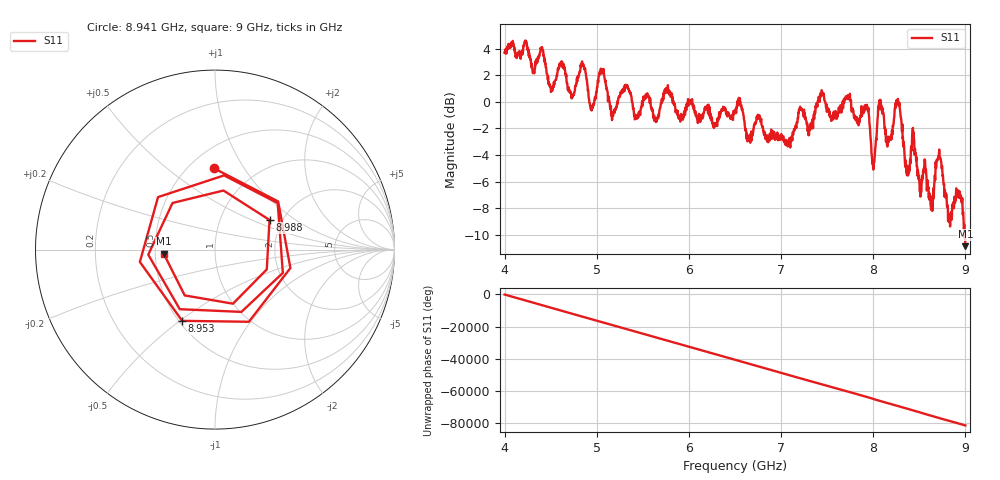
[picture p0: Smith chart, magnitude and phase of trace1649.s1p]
! Created with skrf 1.8.0 (http://scikit-rf.org).
# Hz S RI R 50.0
!freq ReS11 ImS11
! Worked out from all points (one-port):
!   1601 points, 4 GHz to 9 GHz, reference 50 ohm
!   lowest |S11| = -10.8 dB at 9 GHz (marker M1), VSWR 1.80, Z = 27.7 - j1.37 ohm
!   |S11| at or under -10 dB: 8.990374 GHz to 8.99352 GHz (3.146 MHz wide, 0.035 % of centre); 8.994358 GHz to end of sweep
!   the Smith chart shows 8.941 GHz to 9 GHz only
!   S11 on the Smith chart (normalised r, x): 8.941 GHz: 0.65, +0.74; 8.953 GHz: 0.52, -0.51; 8.988 GHz: 1.72, +0.64; 9 GHz: 0.55, -0.03
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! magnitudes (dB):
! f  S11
! 4 GHz  3.7
! 4.403 GHz  4.0
! 4.506 GHz  0.8
! 4.625 GHz  3.0
! 4.731 GHz  0.5
! 4.85 GHz  2.7
! 4.944 GHz  -0.6
! 5.05 GHz  2.2
! 5.169 GHz  -0.8
! 5.25 GHz  0.5
! 5.875 GHz  -1.0
! 6.5 GHz  -0.7
! 7.125 GHz  -2.3
! 7.75 GHz  0.1
! 7.931 GHz  -0.2
! 8 GHz  -5.1
! 8.069 GHz  0.1
! 8.162 GHz  -2.6
! 8.266 GHz  0.2
! 8.375 GHz  -5.1
! 8.434 GHz  -2.8
! 8.625 GHz  -7.8
! 8.712 GHz  -4.1
! 8.828 GHz  -9.1
! 8.941 GHz  -6.9
! 8.953 GHz  -7.2
! 8.988 GHz  -9.2
! 9 GHz  -10.8
